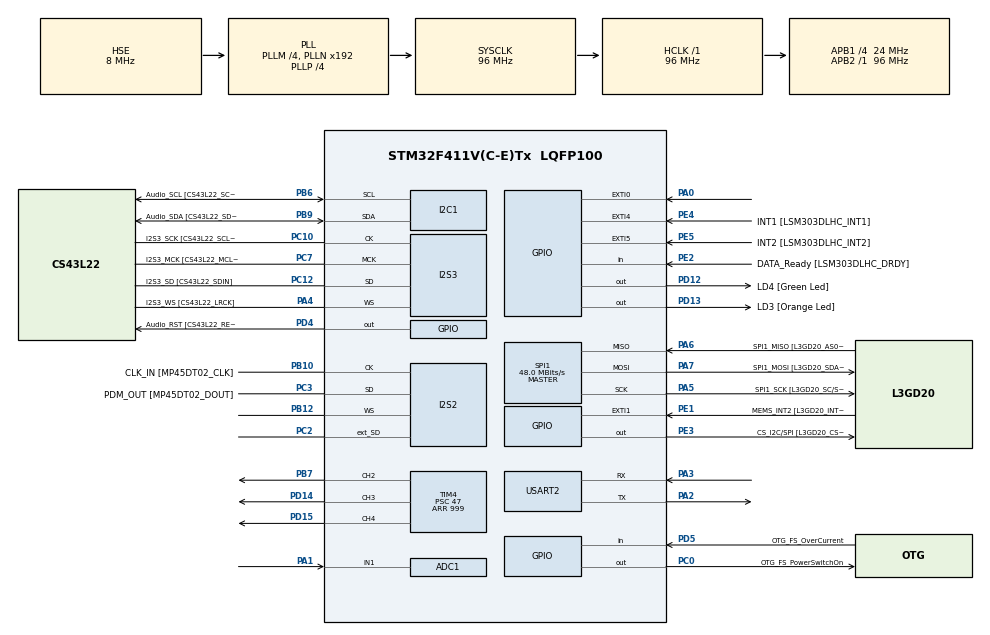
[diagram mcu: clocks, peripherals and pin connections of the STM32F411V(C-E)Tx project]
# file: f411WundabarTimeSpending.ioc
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ADC1.Channel-0\#ChannelRegularConversion=ADC_CHANNEL_1
ADC1.ClockPrescaler=ADC_CLOCK_SYNC_PCLK_DIV4
ADC1.NbrOfConversion=1
ADC1.NbrOfConversionFlag=1
ADC1.Rank-0\#ChannelRegularConversion=1
ADC1.SamplingTime-0\#ChannelRegularConversion=ADC_SAMPLETIME_480CYCLES
ADC1.master=1
I2S2.AudioFreq=I2S_AUDIOFREQ_96K
I2S2.ErrorAudioFreq=0.15 %
I2S2.FullDuplexMode=I2S_FULLDUPLEXMODE_ENABLE
I2S2.Instance=SPI$Index
I2S2.RealAudioFreq=96.153 KHz
I2S2.VirtualMode=I2S_MODE_MASTER
I2S3.AudioFreq=I2S_AUDIOFREQ_96K
I2S3.ErrorAudioFreq=-6.99 %
I2S3.FullDuplexMode=I2S_FULLDUPLEXMODE_DISABLE
I2S3.Instance=SPI$Index
I2S3.RealAudioFreq=89.285 KHz
I2S3.VirtualMode=I2S_MODE_MASTER
Mcu.Family=STM32F4
Mcu.Name=STM32F411V(C-E)Tx
Mcu.Package=LQFP100
NVIC.ADC_IRQn=true\:0\:0\:false\:false\:true\:true\:true
NVIC.EXTI0_IRQn=true\:0\:0\:false\:false\:true\:true\:true
NVIC.PriorityGroup=NVIC_PRIORITYGROUP_0
NVIC.TIM1_BRK_TIM9_IRQn=true\:0\:0\:false\:false\:true\:true\:true
NVIC.TIM4_IRQn=true\:0\:0\:false\:false\:true\:true\:true
NVIC.USART2_IRQn=true\:0\:0\:false\:false\:true\:true\:true
PA0-WKUP.GPIO_ModeDefaultEXTI=GPIO_MODE_IT_RISING_FALLING
PA0-WKUP.GPIO_PuPd=GPIO_NOPULL
PA0-WKUP.Signal=GPXTI0
PA1.Signal=ADCx_IN1
PA10.Signal=S_TIM1_CH3
PA11.GPIO_Label=OTG_FS_DM
PA11.Signal=USB_OTG_FS_DM
PA12.GPIO_Label=OTG_FS_DP
PA12.Signal=USB_OTG_FS_DP
PA13.GPIO_Label=SWDIO
PA13.Mode=Serial_Wire
PA13.Signal=SYS_JTMS-SWDIO
PA14.GPIO_Label=SWCLK
PA14.Mode=Serial_Wire
PA14.Signal=SYS_JTCK-SWCLK
PA2.Mode=Asynchronous
PA2.Signal=USART2_TX
PA3.Mode=Asynchronous
PA3.Signal=USART2_RX
PA4.GPIO_Label=I2S3_WS [CS43L22_LRCK]
PA4.GPIO_Mode=GPIO_MODE_AF_PP
PA4.GPIO_PuPd=GPIO_NOPULL
PA4.GPIO_Speed=GPIO_SPEED_FREQ_LOW
PA4.Mode=Half_Duplex_Master
PA4.Signal=I2S3_WS
PA5.GPIO_Label=SPI1_SCK [L3GD20_SC/SPC]
PA5.Mode=Full_Duplex_Master
PA5.Signal=SPI1_SCK
PA6.GPIO_Label=SPI1_MISO [L3GD20_AS0/SDO]
PA6.Mode=Full_Duplex_Master
PA6.Signal=SPI1_MISO
PA7.GPIO_Label=SPI1_MOSI [L3GD20_SDA/SDI/SDO]
PA7.Mode=Full_Duplex_Master
PA7.Signal=SPI1_MOSI
PA9.GPIO_Label=VBUS_FS
PA9.Signal=USB_OTG_FS_VBUS
PB10.GPIO_Label=CLK_IN [MP45DT02_CLK]
PB10.Mode=Full_Duplex_Master
PB10.Signal=I2S2_CK
PB12.Mode=Full_Duplex_Master
PB12.Signal=I2S2_WS
PB3.GPIO_Label=SWO
PB3.Signal=SYS_JTDO-SWO
PB6.GPIO_Label=Audio_SCL [CS43L22_SCL]
PB6.GPIO_Mode=GPIO_MODE_AF_OD
PB6.GPIO_Pu=GPIO_PULLUP
PB6.GPIO_PuPd=GPIO_NOPULL
PB6.GPIO_Speed=GPIO_SPEED_FREQ_LOW
PB6.Mode=I2C
PB6.Signal=I2C1_SCL
PB7.Signal=S_TIM4_CH2
PB9.GPIO_Label=Audio_SDA [CS43L22_SDA]
PB9.GPIO_Mode=GPIO_MODE_AF_OD
PB9.GPIO_Pu=GPIO_PULLUP
PB9.GPIO_PuPd=GPIO_NOPULL
PB9.GPIO_Speed=GPIO_SPEED_FREQ_LOW
PB9.Mode=I2C
PB9.Signal=I2C1_SDA
PC0.GPIO_Label=OTG_FS_PowerSwitchOn
PC0.PinState=GPIO_PIN_SET
PC0.Signal=GPIO_Output
PC10.GPIO_Label=I2S3_SCK [CS43L22_SCLK]
PC10.GPIO_Mode=GPIO_MODE_AF_PP
PC10.GPIO_PuPd=GPIO_NOPULL
PC10.GPIO_Speed=GPIO_SPEED_FREQ_LOW
PC10.Mode=Half_Duplex_Master
PC10.Signal=I2S3_CK
PC12.GPIO_Label=I2S3_SD [CS43L22_SDIN]
PC12.GPIO_Mode=GPIO_MODE_AF_PP
PC12.GPIO_PuPd=GPIO_NOPULL
PC12.GPIO_Speed=GPIO_SPEED_FREQ_LOW
PC12.Mode=Half_Duplex_Master
PC12.Signal=I2S3_SD
PC14-OSC32_IN.GPIO_Label=PC14-OSC32_IN
PC14-OSC32_IN.Mode=LSE-External-Oscillator
PC14-OSC32_IN.Signal=RCC_OSC32_IN
PC15-OSC32_OUT.GPIO_Label=PC15-OSC32_OUT
PC15-OSC32_OUT.Mode=LSE-External-Oscillator
PC15-OSC32_OUT.Signal=RCC_OSC32_OUT
PC2.Mode=Full_Duplex_Master
PC2.Signal=I2S2_ext_SD
PC3.GPIO_Label=PDM_OUT [MP45DT02_DOUT]
PC3.Mode=Full_Duplex_Master
PC3.Signal=I2S2_SD
PC7.GPIO_Label=I2S3_MCK [CS43L22_MCLK]
PC7.GPIO_Mode=GPIO_MODE_AF_PP
PC7.GPIO_PuPd=GPIO_NOPULL
PC7.GPIO_Speed=GPIO_SPEED_FREQ_LOW
PC7.Mode=Master_Clock_Activated
PC7.Signal=I2S3_MCK
PD12.GPIO_Label=LD4 [Green Led]
PD12.GPIO_PuPd=GPIO_NOPULL
PD12.GPIO_Speed=GPIO_SPEED_FREQ_LOW
PD12.Signal=GPIO_Output
PD13.GPIO_Label=LD3 [Orange Led]
PD13.GPIO_PuPd=GPIO_NOPULL
PD13.GPIO_Speed=GPIO_SPEED_FREQ_LOW
PD13.Signal=GPIO_Output
PD14.Signal=S_TIM4_CH3
PD15.Signal=S_TIM4_CH4
PD4.GPIO_Label=Audio_RST [CS43L22_RESET]
PD4.Signal=GPIO_Output
PD5.GPIO_Label=OTG_FS_OverCurrent
PD5.Signal=GPIO_Input
PE1.GPIO_Label=MEMS_INT2 [L3GD20_INT2]
PE1.GPIO_ModeDefaultEXTI=GPIO_MODE_EVT_RISING
PE1.Signal=GPXTI1
PE2.GPIO_Label=DATA_Ready [LSM303DLHC_DRDY]
PE2.Signal=GPIO_Input
PE3.GPIO_Label=CS_I2C/SPI [L3GD20_CS_I2C/SPI]
PE3.Signal=GPIO_Output
PE4.GPIO_Label=INT1 [LSM303DLHC_INT1]
PE4.GPIO_ModeDefaultEXTI=GPIO_MODE_EVT_RISING
PE4.Signal=GPXTI4
PE5.GPIO_Label=INT2 [LSM303DLHC_INT2]
PE5.GPIO_ModeDefaultEXTI=GPIO_MODE_EVT_RISING
PE5.Signal=GPXTI5
PH0\ -\ OSC_IN.GPIO_Label=PH0-OSC_IN
PH0\ -\ OSC_IN.Mode=HSE-External-Oscillator
PH0\ -\ OSC_IN.Signal=RCC_OSC_IN
PH1\ -\ OSC_OUT.GPIO_Label=PH1-OSC_OUT
PH1\ -\ OSC_OUT.Mode=HSE-External-Oscillator
PH1\ -\ OSC_OUT.Signal=RCC_OSC_OUT
ProjectManager.HeapSize=0x200
ProjectManager.StackSize=0x400
ProjectManager.TargetToolchain=STM32CubeIDE
RCC.48MHZClocksFreq_Value=48000000
RCC.AHBFreq_Value=96000000
RCC.APB1CLKDivider=RCC_HCLK_DIV4
RCC.APB1Freq_Value=24000000
RCC.APB1TimFreq_Value=48000000
RCC.APB2Freq_Value=96000000
RCC.APB2TimFreq_Value=96000000
RCC.CortexFreq_Value=96000000
RCC.HCLKFreq_Value=96000000
RCC.HSE_VALUE=8000000
RCC.HSI_VALUE=16000000
RCC.PLLI2SM=5
RCC.PLLI2SN=200
RCC.PLLM=4
RCC.PLLP=RCC_PLLP_DIV4
RCC.PLLQ=8
RCC.PLLSourceVirtual=RCC_PLLSOURCE_HSE
RCC.RCC_TIM_PRescaler_Selection=RCC_TIMPRES_DESACTIVATED
RCC.SYSCLKFreq_VALUE=96000000
RCC.SYSCLKSource=RCC_SYSCLKSOURCE_PLLCLK
RCC.VCOOutputFreq_Value=384000000
SH.ADCx_IN1.0=ADC1_IN1,IN1
SH.S_TIM1_CH3.0=TIM1_CH3
SH.S_TIM4_CH2.0=TIM4_CH2,PWM Generation2 CH2
SH.S_TIM4_CH3.0=TIM4_CH3,PWM Generation3 CH3
SH.S_TIM4_CH4.0=TIM4_CH4,PWM Generation4 CH4
SPI1.BaudRatePrescaler=SPI_BAUDRATEPRESCALER_2
SPI1.CalculateBaudRate=48.0 MBits/s
SPI1.Direction=SPI_DIRECTION_2LINES
SPI1.Mode=SPI_MODE_MASTER
SPI1.VirtualType=VM_MASTER
TIM4.AutoReloadPreload=TIM_AUTORELOAD_PRELOAD_ENABLE
TIM4.Channel-PWM\ Generation2\ CH2=TIM_CHANNEL_2
TIM4.Channel-PWM\ Generation3\ CH3=TIM_CHANNEL_3
TIM4.Channel-PWM\ Generation4\ CH4=TIM_CHANNEL_4
TIM4.Period=999
TIM4.Prescaler=47
TIM9.Period=47999
USART2.VirtualMode=VM_ASYNC
VP_TIM4_VS_ClockSourceINT.Mode=Internal
VP_TIM9_VS_ClockSourceINT.Mode=Internal
board=STM32F411E-DISCO

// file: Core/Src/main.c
/* USER CODE BEGIN Header */
/**
  ******************************************************************************
  * @file           : main.c
  * @brief          : Main program body
  ******************************************************************************
  * @attention
  *
  * Copyright (c) 2022 STMicroelectronics.
  * All rights reserved.
  *
  * This software is licensed under terms that can be found in the LICENSE file
  * in the root directory of this software component.
  * If no LICENSE file comes with this software, it is provided AS-IS.
  *
  ******************************************************************************
  */
/* USER CODE END Header */
#include "main.h"

/* USER CODE BEGIN Includes */
#include"my_lib.h"
#include<math.h>
/* USER CODE END Includes */

ADC_HandleTypeDef hadc1;

I2C_HandleTypeDef hi2c1;

I2S_HandleTypeDef hi2s2;
I2S_HandleTypeDef hi2s3;

SPI_HandleTypeDef hspi1;

TIM_HandleTypeDef htim4;
TIM_HandleTypeDef htim9;

UART_HandleTypeDef huart2;

/* USER CODE BEGIN PV */
		uint8_t mode_colors;
		uint32_t cnt_ms;
		uint32_t cnt_chatter;
		uint32_t button_down;
		uint32_t button_toggle_access;
		uint32_t button_down_access;
		int pwmfuncStepNum;
		double pwmfuncStep;
		double pwmfuncArg;
		int ADC_VAL[2];
		int x_uart;

/* USER CODE END PV */

void SystemClock_Config(void);
void PeriphCommonClock_Config(void);
static void MX_GPIO_Init(void);
static void MX_I2C1_Init(void);
static void MX_I2S2_Init(void);
static void MX_I2S3_Init(void);
static void MX_SPI1_Init(void);
static void MX_TIM9_Init(void);
static void MX_TIM4_Init(void);
static void MX_ADC1_Init(void);
static void MX_USART2_UART_Init(void);

/* USER CODE BEGIN 0 */
void My_init(){
	mode_colors = true;
	button_down = false;
	button_toggle_access = false;
	button_down_access = false;
	cnt_chatter = 0;
	//LEDs
	uint32_t k = GPIOD->MODER;
	k &= 0xC0ffffff;
	k|= 0x15000000;
	GPIOD->MODER = k;
//	GPIOD->AFR[1] = 0x20000000;

	//USER Button
	k = GPIOA->MODER;
	k &= 0xfffffffc;
	GPIOA->MODER = k;

	//clock
	k = ticks;
	SysTick->LOAD = k;
	SysTick->CTRL = 0;
}
void My_TIM9_init(){
	TIM9->PSC = 48000 - 1;//тк нельзя 96000 поставить, 0.5 ms
	TIM9->ARR = 2 * 100;
	TIM9->SR = 0;
	TIM9->CR1 |= TIM_CR1_CEN;
//	TIM9->DIER |= TIM_DIER_UIE; //Разрешения прерывание от таймера
//	TIM9->CR1 |= TIM_CR1_CEN; //Запуск таймера
}
void My_TIM4_inti(){
	TIM4->PSC = 48000 - 1;
	TIM4->DIER |= TIM_DIER_UIE;
	TIM4->CR1 |= TIM_CR1_CEN;
	TIM4->CR1 |= TIM_CR1_ARPE;
//	 RCC_APB1PeriphClockCmd(RCC_APB1Periph_TIM4, ENABLE);

	  /* Enable GPIOD Pins that are used for on board LED's */
//	  RCC_AHB1PeriphClockCmd(RCC_AHB1Periph_GPIOD, ENABLE);

	  //Enabled GPIOB we are going to use PB6 which is linked to TIM4_CH1 according to the
	  //documentation
//	  RCC_AHB1PeriphClockCmd(RCC_AHB1Periph_GPIOB, ENABLE);
}
void toggle_test(){
	uint32_t k = GPIOD->ODR;
	if (k & 0x00008000){
		k &= 0x00007fff;
	}
	else
	{
		k|= 0x00008000;
	}
	GPIOD->ODR = k;
}
void toggle_orange(){
	uint32_t k = GPIOD->ODR;
	if (k & 0x00002000){
		k &= 0x0000dfff;
	}
	else
	{
		k|= 0x00002000;
	}
	GPIOD->ODR = k;
}

void mode_common(){
	uint32_t k = GPIOD->ODR;
		if (k & 0x00008000){
			k &= 0x00007fff;
		}
		else
		{
			k|= 0x00008000;
		}
		GPIOD->ODR = k;
}
int delay(int msec){
	SysTick->CTRL = 0;
	SysTick->CTRL = 	SYSTICK_CLKSOURCE_HCLK | SysTick_CTRL_TICKINT_Msk | SysTick_CTRL_ENABLE_Msk;
	SysTick->VAL = 0;
	SysTick->LOAD = ticks;
	cnt_ms = 0;
	uint32_t ret = false;
	while(msec > cnt_ms){
		if (button_toggle_access == true && (GPIOA->IDR & 0x00000001) == 0){
			button_toggle_access = false;
			ret = true;
			break;
		}

	}
	SysTick->CTRL = 0;
	return ret;
}
/* USER CODE END 0 */

int main(void)
{

  /* MCU Configuration--------------------------------------------------------*/

  /* Reset of all peripherals, Initializes the Flash interface and the Systick. */
  HAL_Init();

  /* Configure the system clock */
  SystemClock_Config();

/* Configure the peripherals common clocks */
  PeriphCommonClock_Config();

  /* USER CODE BEGIN SysInit */
//  	  	  My_init();
  /* USER CODE END SysInit */

  /* Initialize all configured peripherals */
  MX_GPIO_Init();
  MX_I2C1_Init();
  MX_I2S2_Init();
  MX_I2S3_Init();
  MX_SPI1_Init();
  MX_TIM9_Init();
  MX_TIM4_Init();
  MX_ADC1_Init();
  MX_USART2_UART_Init();
  /* USER CODE BEGIN 2 */
  My_TIM9_init();
//  My_TIM4_inti();

  /* USER CODE END 2 */

  /* Infinite loop */
  /* USER CODE BEGIN WHILE */
  uint8_t data = 33;
  while (1)
  {
	  while(1){
		  USART2->DR = data;
		  if (button_down){
			  if (USART2->SR & (0xffffffff & (1 >> USART_SR_TC_Pos)) == 1){

			  }
		  }
	  }
	  pwmfuncStepNum = 1000;
	  pwmfuncStep = (2 * M_PI) / pwmfuncStepNum;
	  pwmfuncArg = 0;
	  double pwmlastArg = 0;
//	  HAL_TIM_Base_Start(&htim4);
	  HAL_TIM_Base_Start_IT(&htim4);
//	  TIM_HandleTypeDef htim4;
	  HAL_TIM_PWM_Start(&htim4, TIM_CHANNEL_3);
	  HAL_TIM_PWM_Start(&htim4, TIM_CHANNEL_2); //PB7
	  HAL_TIM_PWM_Start(&htim4, TIM_CHANNEL_4); //blue
	  TIM4->CCR4 = 0;
	  ADC1->CR2 |= ADC_CR2_ADON;
	  ADC1->CR1 |= ADC_CR1_JEOCIE;
	  ADC1->CR2 |= ADC_CR2_JSWSTART;
	  while(1){
		  if (pwmlastArg > 60 * M_PI)
			  pwmfuncArg = 0;
		  if (pwmlastArg != pwmfuncArg){
			  pwmlastArg = pwmfuncArg;
			  TIM4->CCR3 = (uint32_t)(TIM4->ARR * (0.5 * sin(pwmfuncArg) + 0.5));
			  TIM4->CCR2 = (uint32_t)(TIM4->ARR * (0.5 * sin(pwmfuncArg) + 0.5));
		  }
//		  TIM4->CCR4 = (int)(((double)ADC_VAL[0]) * 0.244);
		  double val = (double)(ADC_VAL[0]) / 4096;
		  TIM4->CCR4 = (int)((double)(TIM4->ARR) * val);
		  /*while(CH3 < 65535){
			  TIM4->CCR3 = CH3;
			  CH3+=50;
			  HAL_Delay(1);
		  }
		  while(CH3 > 0){
			  TIM4->CCR3 = CH3;
			  CH3 -= 50;
			  HAL_Delay(1);
		  }*/
	  }
	  uint32_t q = SysTick->VAL;
	  	  uint32_t w = SysTick->CTRL;
	  	  //common
	  	  off_led(ORN);
	  	  off_led(RED);
	  	  off_led(GRN);
	  	  if (mode_colors == true){
	  		  on_led(GRN);
	  		  if (delay(3000)){
	  			  mode_colors = false;
	  			  continue;
	  		  }
	  		  off_led(GRN);
	  		  if (delay(300)){
	  			  mode_colors = false;
	  			  continue;
	  		  }
	  		  on_led(GRN);
	  		  if (delay(300)){
	  			  mode_colors = false;
	  			  continue;
	  		  }
	  		  off_led(GRN);
	  		  if (delay(300)){
	  			  mode_colors = false;
	  			  continue;
	  		  }
	  		  on_led(GRN);
	  		  on_led(ORN);
	  		  if (delay(1000)){
	  			  mode_colors = false;
	  			  continue;
	  		  }
	  		  off_led(GRN);
	  		  off_led(ORN);
	  		  on_led(RED);
	  		  if (delay(5000)){
	  			  mode_colors = false;
	  			  continue;
	  		  }
	  		  off_led(RED);
	  		  if (delay(300)){
	  			  mode_colors = false;
	  			  continue;
	  		  }
	  		  on_led(RED);
	  		  if (delay(300)){
	  			  mode_colors = false;
	  			  continue;
	  		  }
	  		  off_led(RED);
	  		  if (delay(300)){
	  			  mode_colors = false;
	  			  continue;
	  		  }
	  		  on_led(RED);
	  		  on_led(ORN);
	  		  if (delay(1000)){
	  			  mode_colors = false;
	  			  continue;
	  		  };
	  		  off_led(RED);
	  		  off_led(ORN);
	  	  }
	  	  else{
	  		  on_led(ORN);
	  		  if (delay(500)){
	  			  mode_colors = true;
	  			  continue;
	  		  }
	  		  off_led(ORN);
	  		  if (delay(500)){
	  			  mode_colors = true;
	  			  continue;
	  		  }
	  	  }
    /* USER CODE END WHILE */

  }
}

void SystemClock_Config(void)
{
  RCC_OscInitTypeDef RCC_OscInitStruct = {0};
  RCC_ClkInitTypeDef RCC_ClkInitStruct = {0};

  /** Configure the main internal regulator output voltage
  */
  __HAL_RCC_PWR_CLK_ENABLE();
  __HAL_PWR_VOLTAGESCALING_CONFIG(PWR_REGULATOR_VOLTAGE_SCALE1);
  /** Initializes the RCC Oscillators according to the specified parameters
  * in the RCC_OscInitTypeDef structure.
  */
  RCC_OscInitStruct.OscillatorType = RCC_OSCILLATORTYPE_HSE;
  RCC_OscInitStruct.HSEState = RCC_HSE_ON;
  RCC_OscInitStruct.PLL.PLLState = RCC_PLL_ON;
  RCC_OscInitStruct.PLL.PLLSource = RCC_PLLSOURCE_HSE;
  RCC_OscInitStruct.PLL.PLLM = 4;
  RCC_OscInitStruct.PLL.PLLN = 192;
  RCC_OscInitStruct.PLL.PLLP = RCC_PLLP_DIV4;
  RCC_OscInitStruct.PLL.PLLQ = 8;
  if (HAL_RCC_OscConfig(&RCC_OscInitStruct) != HAL_OK)
  {
    Error_Handler();
  }
  /** Initializes the CPU, AHB and APB buses clocks
  */
  RCC_ClkInitStruct.ClockType = RCC_CLOCKTYPE_HCLK|RCC_CLOCKTYPE_SYSCLK
                              |RCC_CLOCKTYPE_PCLK1|RCC_CLOCKTYPE_PCLK2;
  RCC_ClkInitStruct.SYSCLKSource = RCC_SYSCLKSOURCE_PLLCLK;
  RCC_ClkInitStruct.AHBCLKDivider = RCC_SYSCLK_DIV1;
  RCC_ClkInitStruct.APB1CLKDivider = RCC_HCLK_DIV4;
  RCC_ClkInitStruct.APB2CLKDivider = RCC_HCLK_DIV1;

  if (HAL_RCC_ClockConfig(&RCC_ClkInitStruct, FLASH_LATENCY_3) != HAL_OK)
  {
    Error_Handler();
  }
}

void PeriphCommonClock_Config(void)
{
  RCC_PeriphCLKInitTypeDef PeriphClkInitStruct = {0};

  /** Initializes the peripherals clock
  */
  PeriphClkInitStruct.PeriphClockSelection = RCC_PERIPHCLK_I2S;
  PeriphClkInitStruct.PLLI2S.PLLI2SN = 200;
  PeriphClkInitStruct.PLLI2S.PLLI2SM = 5;
  PeriphClkInitStruct.PLLI2S.PLLI2SR = 2;
  if (HAL_RCCEx_PeriphCLKConfig(&PeriphClkInitStruct) != HAL_OK)
  {
    Error_Handler();
  }
}

static void MX_ADC1_Init(void)
{

  ADC_ChannelConfTypeDef sConfig = {0};

  /** Configure the global features of the ADC (Clock, Resolution, Data Alignment and number of conversion)
  */
  hadc1.Instance = ADC1;
  hadc1.Init.ClockPrescaler = ADC_CLOCK_SYNC_PCLK_DIV4;
  hadc1.Init.Resolution = ADC_RESOLUTION_12B;
  hadc1.Init.ScanConvMode = DISABLE;
  hadc1.Init.ContinuousConvMode = DISABLE;
  hadc1.Init.DiscontinuousConvMode = DISABLE;
  hadc1.Init.ExternalTrigConvEdge = ADC_EXTERNALTRIGCONVEDGE_NONE;
  hadc1.Init.ExternalTrigConv = ADC_SOFTWARE_START;
  hadc1.Init.DataAlign = ADC_DATAALIGN_RIGHT;
  hadc1.Init.NbrOfConversion = 1;
  hadc1.Init.DMAContinuousRequests = DISABLE;
  hadc1.Init.EOCSelection = ADC_EOC_SINGLE_CONV;
  if (HAL_ADC_Init(&hadc1) != HAL_OK)
  {
    Error_Handler();
  }
  /** Configure for the selected ADC regular channel its corresponding rank in the sequencer and its sample time.
  */
  sConfig.Channel = ADC_CHANNEL_1;
  sConfig.Rank = 1;
  sConfig.SamplingTime = ADC_SAMPLETIME_480CYCLES;
  if (HAL_ADC_ConfigChannel(&hadc1, &sConfig) != HAL_OK)
  {
    Error_Handler();
  }

}

static void MX_I2C1_Init(void)
{

  hi2c1.Instance = I2C1;
  hi2c1.Init.ClockSpeed = 100000;
  hi2c1.Init.DutyCycle = I2C_DUTYCYCLE_2;
  hi2c1.Init.OwnAddress1 = 0;
  hi2c1.Init.AddressingMode = I2C_ADDRESSINGMODE_7BIT;
  hi2c1.Init.DualAddressMode = I2C_DUALADDRESS_DISABLE;
  hi2c1.Init.OwnAddress2 = 0;
  hi2c1.Init.GeneralCallMode = I2C_GENERALCALL_DISABLE;
  hi2c1.Init.NoStretchMode = I2C_NOSTRETCH_DISABLE;
  if (HAL_I2C_Init(&hi2c1) != HAL_OK)
  {
    Error_Handler();
  }

}

static void MX_I2S2_Init(void)
{

  hi2s2.Instance = SPI2;
  hi2s2.Init.Mode = I2S_MODE_MASTER_TX;
  hi2s2.Init.Standard = I2S_STANDARD_PHILIPS;
  hi2s2.Init.DataFormat = I2S_DATAFORMAT_16B;
  hi2s2.Init.MCLKOutput = I2S_MCLKOUTPUT_DISABLE;
  hi2s2.Init.AudioFreq = I2S_AUDIOFREQ_96K;
  hi2s2.Init.CPOL = I2S_CPOL_LOW;
  hi2s2.Init.ClockSource = I2S_CLOCK_PLL;
  hi2s2.Init.FullDuplexMode = I2S_FULLDUPLEXMODE_ENABLE;
  if (HAL_I2S_Init(&hi2s2) != HAL_OK)
  {
    Error_Handler();
  }

}

static void MX_I2S3_Init(void)
{

  hi2s3.Instance = SPI3;
  hi2s3.Init.Mode = I2S_MODE_MASTER_TX;
  hi2s3.Init.Standard = I2S_STANDARD_PHILIPS;
  hi2s3.Init.DataFormat = I2S_DATAFORMAT_16B;
  hi2s3.Init.MCLKOutput = I2S_MCLKOUTPUT_ENABLE;
  hi2s3.Init.AudioFreq = I2S_AUDIOFREQ_96K;
  hi2s3.Init.CPOL = I2S_CPOL_LOW;
  hi2s3.Init.ClockSource = I2S_CLOCK_PLL;
  hi2s3.Init.FullDuplexMode = I2S_FULLDUPLEXMODE_DISABLE;
  if (HAL_I2S_Init(&hi2s3) != HAL_OK)
  {
    Error_Handler();
  }

}

static void MX_SPI1_Init(void)
{

  /* SPI1 parameter configuration*/
  hspi1.Instance = SPI1;
  hspi1.Init.Mode = SPI_MODE_MASTER;
  hspi1.Init.Direction = SPI_DIRECTION_2LINES;
  hspi1.Init.DataSize = SPI_DATASIZE_8BIT;
  hspi1.Init.CLKPolarity = SPI_POLARITY_LOW;
  hspi1.Init.CLKPhase = SPI_PHASE_1EDGE;
  hspi1.Init.NSS = SPI_NSS_SOFT;
  hspi1.Init.BaudRatePrescaler = SPI_BAUDRATEPRESCALER_2;
  hspi1.Init.FirstBit = SPI_FIRSTBIT_MSB;
  hspi1.Init.TIMode = SPI_TIMODE_DISABLE;
  hspi1.Init.CRCCalculation = SPI_CRCCALCULATION_DISABLE;
  hspi1.Init.CRCPolynomial = 10;
  if (HAL_SPI_Init(&hspi1) != HAL_OK)
  {
    Error_Handler();
  }

}

static void MX_TIM4_Init(void)
{

  TIM_ClockConfigTypeDef sClockSourceConfig = {0};
  TIM_MasterConfigTypeDef sMasterConfig = {0};
  TIM_OC_InitTypeDef sConfigOC = {0};

  htim4.Instance = TIM4;
  htim4.Init.Prescaler = 47;
  htim4.Init.CounterMode = TIM_COUNTERMODE_UP;
  htim4.Init.Period = 999;
  htim4.Init.ClockDivision = TIM_CLOCKDIVISION_DIV1;
  htim4.Init.AutoReloadPreload = TIM_AUTORELOAD_PRELOAD_ENABLE;
  if (HAL_TIM_Base_Init(&htim4) != HAL_OK)
  {
    Error_Handler();
  }
  sClockSourceConfig.ClockSource = TIM_CLOCKSOURCE_INTERNAL;
  if (HAL_TIM_ConfigClockSource(&htim4, &sClockSourceConfig) != HAL_OK)
  {
    Error_Handler();
  }
  if (HAL_TIM_PWM_Init(&htim4) != HAL_OK)
  {
    Error_Handler();
  }
  sMasterConfig.MasterOutputTrigger = TIM_TRGO_RESET;
  sMasterConfig.MasterSlaveMode = TIM_MASTERSLAVEMODE_DISABLE;
  if (HAL_TIMEx_MasterConfigSynchronization(&htim4, &sMasterConfig) != HAL_OK)
  {
    Error_Handler();
  }
  sConfigOC.OCMode = TIM_OCMODE_PWM1;
  sConfigOC.Pulse = 0;
  sConfigOC.OCPolarity = TIM_OCPOLARITY_HIGH;
  sConfigOC.OCFastMode = TIM_OCFAST_DISABLE;
  if (HAL_TIM_PWM_ConfigChannel(&htim4, &sConfigOC, TIM_CHANNEL_2) != HAL_OK)
  {
    Error_Handler();
  }
  if (HAL_TIM_PWM_ConfigChannel(&htim4, &sConfigOC, TIM_CHANNEL_3) != HAL_OK)
  {
    Error_Handler();
  }
  if (HAL_TIM_PWM_ConfigChannel(&htim4, &sConfigOC, TIM_CHANNEL_4) != HAL_OK)
  {
    Error_Handler();
  }
  HAL_TIM_MspPostInit(&htim4);

}

static void MX_TIM9_Init(void)
{

  TIM_ClockConfigTypeDef sClockSourceConfig = {0};

  htim9.Instance = TIM9;
  htim9.Init.Prescaler = 0;
  htim9.Init.CounterMode = TIM_COUNTERMODE_UP;
  htim9.Init.Period = 47999;
  htim9.Init.ClockDivision = TIM_CLOCKDIVISION_DIV1;
  htim9.Init.AutoReloadPreload = TIM_AUTORELOAD_PRELOAD_DISABLE;
  if (HAL_TIM_Base_Init(&htim9) != HAL_OK)
  {
    Error_Handler();
  }
  sClockSourceConfig.ClockSource = TIM_CLOCKSOURCE_INTERNAL;
  if (HAL_TIM_ConfigClockSource(&htim9, &sClockSourceConfig) != HAL_OK)
  {
    Error_Handler();
  }

}

static void MX_USART2_UART_Init(void)
{

  huart2.Instance = USART2;
  huart2.Init.BaudRate = 115200;
  huart2.Init.WordLength = UART_WORDLENGTH_8B;
  huart2.Init.StopBits = UART_STOPBITS_1;
  huart2.Init.Parity = UART_PARITY_NONE;
  huart2.Init.Mode = UART_MODE_TX_RX;
  huart2.Init.HwFlowCtl = UART_HWCONTROL_NONE;
  huart2.Init.OverSampling = UART_OVERSAMPLING_16;
  if (HAL_UART_Init(&huart2) != HAL_OK)
  {
    Error_Handler();
  }

}

static void MX_GPIO_Init(void)
{
  GPIO_InitTypeDef GPIO_InitStruct = {0};

  /* GPIO Ports Clock Enable */
  __HAL_RCC_GPIOE_CLK_ENABLE();
  __HAL_RCC_GPIOC_CLK_ENABLE();
  __HAL_RCC_GPIOH_CLK_ENABLE();
  __HAL_RCC_GPIOA_CLK_ENABLE();
  __HAL_RCC_GPIOB_CLK_ENABLE();
  __HAL_RCC_GPIOD_CLK_ENABLE();

  /*Configure GPIO pin Output Level */
  HAL_GPIO_WritePin(CS_I2C_SPI_GPIO_Port, CS_I2C_SPI_Pin, GPIO_PIN_RESET);

  /*Configure GPIO pin Output Level */
  HAL_GPIO_WritePin(OTG_FS_PowerSwitchOn_GPIO_Port, OTG_FS_PowerSwitchOn_Pin, GPIO_PIN_SET);

  /*Configure GPIO pin Output Level */
  HAL_GPIO_WritePin(GPIOD, LD4_Pin|LD3_Pin|Audio_RST_Pin, GPIO_PIN_RESET);

  /*Configure GPIO pin : DATA_Ready_Pin */
  GPIO_InitStruct.Pin = DATA_Ready_Pin;
  GPIO_InitStruct.Mode = GPIO_MODE_INPUT;
  GPIO_InitStruct.Pull = GPIO_NOPULL;
  HAL_GPIO_Init(DATA_Ready_GPIO_Port, &GPIO_InitStruct);

  /*Configure GPIO pin : CS_I2C_SPI_Pin */
  GPIO_InitStruct.Pin = CS_I2C_SPI_Pin;
  GPIO_InitStruct.Mode = GPIO_MODE_OUTPUT_PP;
  GPIO_InitStruct.Pull = GPIO_NOPULL;
  GPIO_InitStruct.Speed = GPIO_SPEED_FREQ_LOW;
  HAL_GPIO_Init(CS_I2C_SPI_GPIO_Port, &GPIO_InitStruct);

  /*Configure GPIO pins : INT1_Pin INT2_Pin MEMS_INT2_Pin */
  GPIO_InitStruct.Pin = INT1_Pin|INT2_Pin|MEMS_INT2_Pin;
  GPIO_InitStruct.Mode = GPIO_MODE_EVT_RISING;
  GPIO_InitStruct.Pull = GPIO_NOPULL;
  HAL_GPIO_Init(GPIOE, &GPIO_InitStruct);

  /*Configure GPIO pin : OTG_FS_PowerSwitchOn_Pin */
  GPIO_InitStruct.Pin = OTG_FS_PowerSwitchOn_Pin;
  GPIO_InitStruct.Mode = GPIO_MODE_OUTPUT_PP;
  GPIO_InitStruct.Pull = GPIO_NOPULL;
  GPIO_InitStruct.Speed = GPIO_SPEED_FREQ_LOW;
  HAL_GPIO_Init(OTG_FS_PowerSwitchOn_GPIO_Port, &GPIO_InitStruct);

  /*Configure GPIO pin : PA0 */
  GPIO_InitStruct.Pin = GPIO_PIN_0;
  GPIO_InitStruct.Mode = GPIO_MODE_IT_RISING_FALLING;
  GPIO_InitStruct.Pull = GPIO_NOPULL;
  HAL_GPIO_Init(GPIOA, &GPIO_InitStruct);

  /*Configure GPIO pins : LD4_Pin LD3_Pin Audio_RST_Pin */
  GPIO_InitStruct.Pin = LD4_Pin|LD3_Pin|Audio_RST_Pin;
  GPIO_InitStruct.Mode = GPIO_MODE_OUTPUT_PP;
  GPIO_InitStruct.Pull = GPIO_NOPULL;
  GPIO_InitStruct.Speed = GPIO_SPEED_FREQ_LOW;
  HAL_GPIO_Init(GPIOD, &GPIO_InitStruct);

  /*Configure GPIO pin : VBUS_FS_Pin */
  GPIO_InitStruct.Pin = VBUS_FS_Pin;
  GPIO_InitStruct.Mode = GPIO_MODE_INPUT;
  GPIO_InitStruct.Pull = GPIO_NOPULL;
  HAL_GPIO_Init(VBUS_FS_GPIO_Port, &GPIO_InitStruct);

  /*Configure GPIO pin : PA10 */
  GPIO_InitStruct.Pin = GPIO_PIN_10;
  GPIO_InitStruct.Mode = GPIO_MODE_AF_PP;
  GPIO_InitStruct.Pull = GPIO_NOPULL;
  GPIO_InitStruct.Speed = GPIO_SPEED_FREQ_LOW;
  GPIO_InitStruct.Alternate = GPIO_AF1_TIM1;
  HAL_GPIO_Init(GPIOA, &GPIO_InitStruct);

  /*Configure GPIO pins : OTG_FS_DM_Pin OTG_FS_DP_Pin */
  GPIO_InitStruct.Pin = OTG_FS_DM_Pin|OTG_FS_DP_Pin;
  GPIO_InitStruct.Mode = GPIO_MODE_AF_PP;
  GPIO_InitStruct.Pull = GPIO_NOPULL;
  GPIO_InitStruct.Speed = GPIO_SPEED_FREQ_VERY_HIGH;
  GPIO_InitStruct.Alternate = GPIO_AF10_OTG_FS;
  HAL_GPIO_Init(GPIOA, &GPIO_InitStruct);

  /*Configure GPIO pin : OTG_FS_OverCurrent_Pin */
  GPIO_InitStruct.Pin = OTG_FS_OverCurrent_Pin;
  GPIO_InitStruct.Mode = GPIO_MODE_INPUT;
  GPIO_InitStruct.Pull = GPIO_NOPULL;
  HAL_GPIO_Init(OTG_FS_OverCurrent_GPIO_Port, &GPIO_InitStruct);

  /* EXTI interrupt init*/
  HAL_NVIC_SetPriority(EXTI0_IRQn, 0, 0);
  HAL_NVIC_EnableIRQ(EXTI0_IRQn);

}

void Error_Handler(void)
{
  __disable_irq();
  while (1)
  {
  }
}
